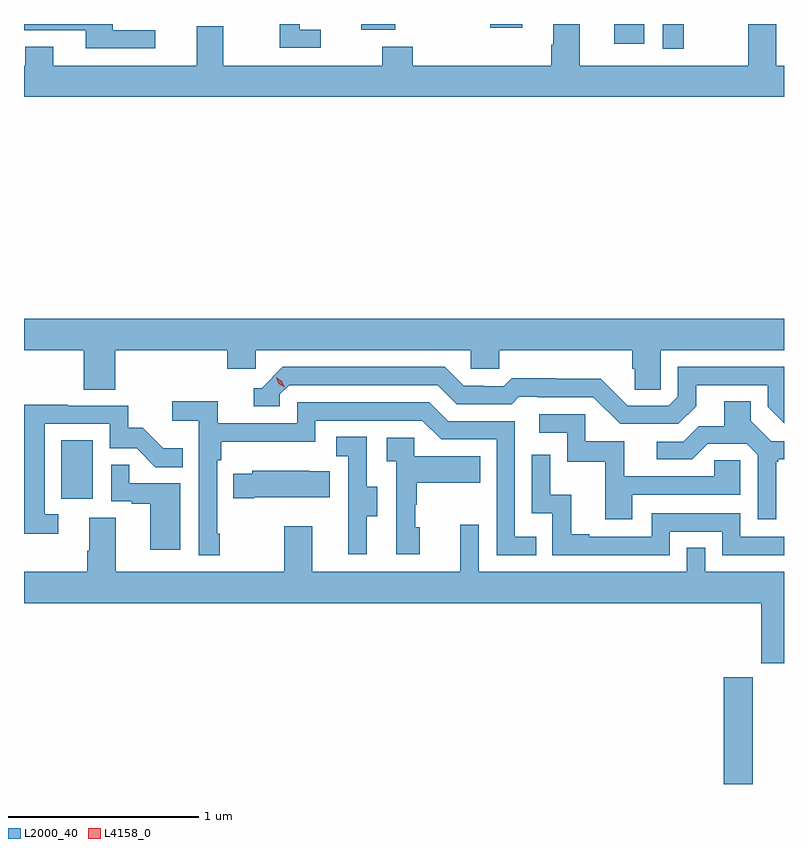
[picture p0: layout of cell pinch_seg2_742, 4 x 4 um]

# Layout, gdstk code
import gdstk
lib = gdstk.Library(unit=1e-6, precision=1e-09)
def R(c, l, rs):  # rectangles x0, y0, x1, y1
    for r in rs: c.add(gdstk.rectangle(r[:2], r[2:], *l))
def P(c, l, *ps):  # polygons
    for p in ps: c.add(gdstk.Polygon(p, *l))
L2000_40 = (2000, 40)
L4158_0 = (4158, 0)

pinch_seg2_742 = lib.new_cell('pinch_seg2_742')
R(pinch_seg2_742, L2000_40, [(888.53,645.352,888.682,645.915), (885.044,646.854,885.208,647.161), (888.21,649.221,888.319,649.352), (887.954,649.248,888.112,649.352), (886.622,649.322,886.801,649.352), (887.301,649.332,887.47,649.352), (886.89,649.351,887.2,649.352)])
P(pinch_seg2_742, L2000_40, [(888.847,649.132),(888.805,649.132),(888.805,649.352),(888.658,649.352),(888.658,649.132),(887.773,649.132),(887.773,649.352),(887.633,649.352),(887.633,649.244),(887.621,649.244),(887.621,649.132),(886.892,649.132),(886.892,649.231),(886.732,649.231),(886.732,649.132),(885.895,649.132),(885.895,649.34),(885.755,649.34),(885.755,649.132),(885.001,649.132),(885.001,649.231),(884.854,649.231),(884.854,649.132),(884.847,649.132),(884.847,648.968),(888.847,648.968)],
  [(885.538,649.32),(885.313,649.32),(885.313,649.352),(884.847,649.352),(884.847,649.32),(885.173,649.32),(885.173,649.224),(885.538,649.224)],
  [(886.408,649.323),(886.297,649.323),(886.297,649.352),(886.193,649.352),(886.193,649.227),(886.408,649.227)],
  [(885.326,647.636),(885.917,647.636),(885.917,647.538),(886.068,647.538),(886.068,647.636),(887.199,647.636),(887.199,647.538),(887.349,647.538),(887.349,647.636),(888.047,647.636),(888.047,647.538),(888.061,647.538),(888.061,647.428),(888.198,647.428),(888.198,647.636),(888.847,647.636),(888.847,647.8),(884.847,647.8),(884.847,647.636),(885.161,647.636),(885.161,647.428),(885.326,647.428)],
  [(888.385,647.341),(888.385,647.451),(888.762,647.451),(888.762,647.337),(888.847,647.252),(888.847,647.547),(888.288,647.547),(888.288,647.391),(888.24,647.343),(888.024,647.343),(887.882,647.485),(887.646,647.485),(887.646,647.488),(887.413,647.488),(887.371,647.445),(887.268,647.445),(887.268,647.448),(887.161,647.448),(887.062,647.547),(886.209,647.547),(886.098,647.436),(886.055,647.436),(886.055,647.34),(886.194,647.34),(886.194,647.403),(886.242,647.451),(887.025,647.451),(887.124,647.352),(887.413,647.352),(887.452,647.391),(887.551,647.391),(887.551,647.388),(887.844,647.388),(887.985,647.247),(888.291,647.247)],
  [(888.805,647.049),(888.817,647.049),(888.817,647.06),(888.847,647.06),(888.847,647.157),(888.78,647.157),(888.673,647.264),(888.673,647.366),(888.533,647.366),(888.533,647.234),(888.398,647.234),(888.318,647.154),(888.177,647.154),(888.177,647.061),(888.364,647.061),(888.445,647.142),(888.651,647.142),(888.708,647.085),(888.708,646.746),(888.805,646.746)],
  [(885.877,646.669),(885.864,646.669),(885.864,647.057),(885.884,647.057),(885.884,647.153),(886.38,647.153),(886.38,647.265),(886.944,647.265),(887.043,647.166),(887.334,647.166),(887.334,646.557),(887.543,646.557),(887.543,646.653),(887.43,646.653),(887.43,647.262),(887.08,647.262),(886.981,647.361),(886.284,647.361),(886.284,647.25),(885.866,647.25),(885.866,647.366),(885.627,647.366),(885.627,647.264),(885.768,647.264),(885.768,646.557),(885.877,646.557)],
  [(885.028,646.773),(884.955,646.773),(884.955,647.247),(885.297,647.247),(885.297,647.118),(885.441,647.118),(885.539,647.02),(885.683,647.02),(885.683,647.119),(885.579,647.119),(885.472,647.226),(885.396,647.226),(885.396,647.343),(885.077,647.343),(885.077,647.348),(884.847,647.348),(884.847,646.668),(885.028,646.668)],
  [(888.049,646.875),(888.618,646.875),(888.618,647.055),(888.481,647.055),(888.481,646.971),(888.007,646.971),(888.007,647.157),(887.802,647.157),(887.802,647.298),(887.559,647.298),(887.559,647.202),(887.706,647.202),(887.706,647.049),(887.905,647.049),(887.905,646.746),(888.049,646.746)],
  [(886.651,646.762),(886.705,646.762),(886.705,646.917),(886.65,646.917),(886.65,647.18),(886.491,647.18),(886.491,647.077),(886.554,647.077),(886.554,646.773),(886.553,646.773),(886.553,646.56),(886.651,646.56)],
  [(886.93,646.704),(886.905,646.704),(886.905,646.823),(886.915,646.823),(886.915,646.937),(887.249,646.937),(887.249,647.077),(886.902,647.077),(886.902,647.175),(886.755,647.175),(886.755,647.051),(886.806,647.051),(886.806,646.56),(886.93,646.56)],
  [(888.246,646.68),(888.522,646.68),(888.522,646.557),(888.847,646.557),(888.847,646.653),(888.618,646.653),(888.618,646.776),(888.15,646.776),(888.15,646.653),(887.821,646.653),(887.821,646.666),(887.726,646.666),(887.726,646.874),(887.616,646.874),(887.616,647.086),(887.52,647.086),(887.52,646.776),(887.628,646.776),(887.628,646.557),(888.246,646.557)],
  [(885.67,646.935),(885.401,646.935),(885.401,647.033),(885.306,647.033),(885.306,646.839),(885.413,646.839),(885.413,646.827),(885.512,646.827),(885.512,646.584),(885.67,646.584)],
  [(886.06,646.862),(886.457,646.862),(886.457,646.999),(886.349,646.999),(886.349,647.002),(886.047,647.002),(886.047,646.984),(885.949,646.984),(885.949,646.855),(886.06,646.855)],
  [(888.847,646.468),(888.432,646.468),(888.432,646.595),(888.336,646.595),(888.336,646.468),(887.241,646.468),(887.241,646.717),(887.144,646.717),(887.144,646.468),(886.363,646.468),(886.363,646.708),(886.216,646.708),(886.216,646.468),(885.331,646.468),(885.331,646.754),(885.191,646.754),(885.191,646.58),(885.179,646.58),(885.179,646.468),(884.847,646.468),(884.847,646.304),(888.728,646.304),(888.728,645.987),(888.847,645.987)])
P(pinch_seg2_742, L4158_0, [(886.22,647.439),(886.189,647.459),(886.174,647.492),(886.174,647.492),(886.174,647.492),(886.204,647.472),(886.22,647.439),(886.22,647.439)])

lib.write_gds('pinch_seg2_742.gds')
